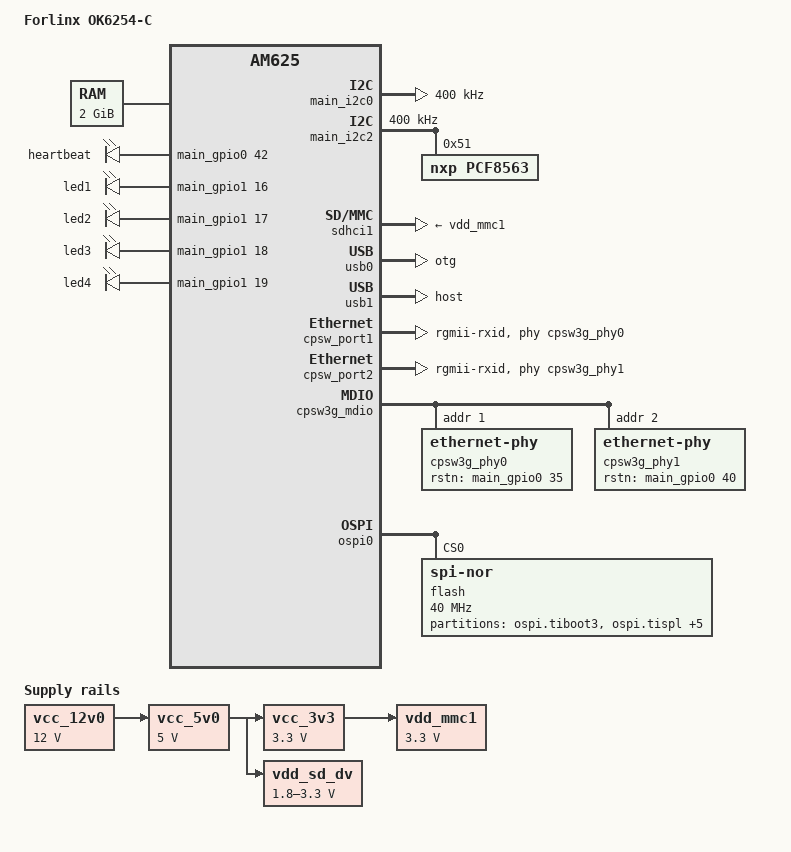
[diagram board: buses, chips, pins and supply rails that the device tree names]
// SPDX-License-Identifier: GPL-2.0
/*
 *  dts file of Forlinx OK6254-C dev board for A53
 *  Copyright (C) 2022 UWINGS TECHNOLOGIES
 *	KunYi Chen <kunyi.chen@gmail.com>
 */

/dts-v1/;

#include <dt-bindings/leds/common.h>
#include <dt-bindings/gpio/gpio.h>
#include <dt-bindings/net/ti-dp83867.h>
#include "k3-am625.dtsi"

/ {
	compatible =  "forlinx,ok6254c", "ti,am625";
	model = "Forlinx OK6254-C";

	aliases {
		serial2 = &main_uart0;
		mmc0 = &sdhci0;
		mmc1 = &sdhci1;
		mmc2 = &sdhci2;
		usb0 = &usb0;
		usb1 = &usb1;
		spi0 = &ospi0;
	};

	chosen {
		stdout-path = "serial2:115200n8";
		bootargs = "console=ttyS2,115200n8 earlycon=ns16550a,mmio32,0x02800000";
	};

	memory@80000000 {
		device_type = "memory";
		/* 2G RAM */
		reg = <0x00000000 0x80000000 0x00000000 0x80000000>;

	};

	reserved-memory {
		#address-cells = <2>;
		#size-cells = <2>;
		ranges;

		secure_tfa_ddr: tfa@9e780000 {
			reg = <0x00 0x9e780000 0x00 0x80000>;
			alignment = <0x1000>;
			no-map;
		};

		secure_ddr: optee@9e800000 {
			reg = <0x00 0x9e800000 0x00 0x01800000>; /* for OP-TEE */
			alignment = <0x1000>;
			no-map;
		};

		wkup_r5fss0_core0_dma_memory_region: r5f-dma-memory@9db00000 {
			compatible = "shared-dma-pool";
			reg = <0x00 0x9db00000 0x00 0xc00000>;
			no-map;
		};
	};

	vcc_12v0: fixed-regulator-vcc12v0 {
		compatible = "regulator-fixed";
		regulator-name = "vcc_12v0";
		regulator-min-microvolt = <12000000>;
		regulator-max-microvolt = <12000000>;
		regulator-always-on;
		regulator-boot-on;
	};

	vcc_5v0: fixed-regulator-vcc5v0 {
		compatible = "regulator-fixed";
		regulator-name = "vcc_5v0";
		regulator-min-microvolt = <5000000>;
		regulator-max-microvolt = <5000000>;
		vin-supply = <&vcc_12v0>;
		regulator-always-on;
		regulator-boot-on;
	};

	vcc_3v3: fixed-regulator-vcc3v3 {
		compatible = "regulator-fixed";
		regulator-name = "vcc_3v3";
		regulator-min-microvolt = <3300000>;
		regulator-max-microvolt = <3300000>;
		vin-supply = <&vcc_5v0>;
		regulator-always-on;
		regulator-boot-on;
	};

	vdd_mmc1: fixed-regulator-sd {
		compatible = "regulator-fixed";
		regulator-name = "vdd_mmc1";
		regulator-min-microvolt = <3300000>;
		regulator-max-microvolt = <3300000>;
		regulator-boot-on;
		enable-active-high;
		vin-supply = <&vcc_3v3>;
	};

	vdd_sd_dv: gpio-regulator-sd-dv {
		compatible = "regulator-gpio";
		regulator-name = "RT9186";
		pinctrl-names = "default";
		pinctrl-0 = <&vdd_sd_dv_pins_default>;
		regulator-min-microvolt = <1800000>;
		regulator-max-microvolt = <3300000>;
		regulator-boot-on;
		vin-supply = <&vcc_5v0>;
		gpios = <&main_gpio0 38 GPIO_ACTIVE_HIGH>;
		states = <1800000 0x1>,
			 <3300000 0x0>;
	};

	leds {
		compatible = "gpio-leds";
		pinctrl-names = "default";
		pinctrl-0 = <&usr_led_pins_default>;

		led-0 {
			label = "heartbeat";
			gpios = <&main_gpio0 42 GPIO_ACTIVE_HIGH>;
			linux,default-trigger = "heartbeat";
			function = LED_FUNCTION_HEARTBEAT;
			default-state = "off";
		};

		led-1 {
			label = "led1";
			gpios = <&main_gpio1 16 GPIO_ACTIVE_HIGH>;
			linux,default-trigger = "timer";
			led-pattern = <200 800>;
			default-state = "on";
		};

		led-2 {
			label = "led2";
			gpios = <&main_gpio1 17 GPIO_ACTIVE_HIGH>;
			linux,default-trigger = "timer";
			led-pattern = <300 700>;
			default-state = "on";
		};

		led-3 {
			label = "led3";
			gpios = <&main_gpio1 18 GPIO_ACTIVE_HIGH>;
			linux,default-trigger = "timer";
			led-pattern = <400 600>;
			default-state = "on";
		};

		led-4 {
			label = "led4";
			gpios = <&main_gpio1 19 GPIO_ACTIVE_HIGH>;
			linux,default-trigger = "timer";
			led-pattern = <500 500>;
			default-state = "on";
		};
	};
};

&main_pmx0 {
	main_uart0_pins_default: main-uart0-pins-default {
		pinctrl-single,pins = <
			AM62X_IOPAD(0x1c8, PIN_INPUT, 0) /* (D14) UART0_RXD */
			AM62X_IOPAD(0x1cc, PIN_OUTPUT, 0) /* (E14) UART0_TXD */
		>;
	};

	main_i2c0_pins_default: main-i2c0-pins-default {
		pinctrl-single,pins = <
			AM62X_IOPAD(0x1e0, PIN_INPUT_PULLUP, 0) /* (B16) I2C0_SCL */
			AM62X_IOPAD(0x1e4, PIN_INPUT_PULLUP, 0) /* (A16) I2C0_SDA */
		>;
	};

	main_i2c1_pins_default: main-i2c1-pins-default {
		pinctrl-single,pins = <
			AM62X_IOPAD(0x1e8, PIN_INPUT_PULLUP, 0) /* (B17) I2C1_SCL */
			AM62X_IOPAD(0x1ec, PIN_INPUT_PULLUP, 0) /* (A17) I2C1_SDA */
		>;
	};

	main_i2c2_pins_default: main-i2c2-pins-default {
		pinctrl-single,pins = <
			AM62X_IOPAD(0x0b0, PIN_INPUT_PULLUP, 1) /* (K22) GPMC0_CSn2.I2C2_SCL */
			AM62X_IOPAD(0x0b4, PIN_INPUT_PULLUP, 1) /* (K24) GPMC0_CSn3.I2C2_SDA */
		>;
	};

	main_mmc0_pins_default: main-mmc0-pins-default {
		pinctrl-single,pins = <
			AM62X_IOPAD(0x220, PIN_INPUT, 0) /* (Y3) MMC0_CMD */
			AM62X_IOPAD(0x218, PIN_INPUT_PULLDOWN, 0) /* (AB1) MMC0_CLK */
			AM62X_IOPAD(0x214, PIN_INPUT, 0) /* (AA2) MMC0_DAT0 */
			AM62X_IOPAD(0x210, PIN_INPUT, 0) /* (AA1) MMC0_DAT1 */
			AM62X_IOPAD(0x20c, PIN_INPUT, 0) /* (AA3) MMC0_DAT2 */
			AM62X_IOPAD(0x208, PIN_INPUT, 0) /* (Y4) MMC0_DAT3 */
			AM62X_IOPAD(0x204, PIN_INPUT, 0) /* (AB2) MMC0_DAT4 */
			AM62X_IOPAD(0x200, PIN_INPUT, 0) /* (AC1) MMC0_DAT5 */
			AM62X_IOPAD(0x1fc, PIN_INPUT, 0) /* (AD2) MMC0_DAT6 */
			AM62X_IOPAD(0x1f8, PIN_INPUT, 0) /* (AC2) MMC0_DAT7 */
		>;
	};

	main_mmc1_pins_default: main-mmc1-pins-default {
		pinctrl-single,pins = <
			AM62X_IOPAD(0x23c, PIN_INPUT, 0) /* (A21) MMC1_CMD */
			AM62X_IOPAD(0x234, PIN_INPUT_PULLDOWN, 0) /* (B22) MMC1_CLK */
			AM62X_IOPAD(0x230, PIN_INPUT, 0) /* (A22) MMC1_DAT0 */
			AM62X_IOPAD(0x22c, PIN_INPUT, 0) /* (B21) MMC1_DAT1 */
			AM62X_IOPAD(0x228, PIN_INPUT, 0) /* (C21) MMC1_DAT2 */
			AM62X_IOPAD(0x224, PIN_INPUT, 0) /* (D22) MMC1_DAT3 */
			AM62X_IOPAD(0x240, PIN_INPUT, 0) /* (D17) MMC1_SDCD */
		>;
	};

	usr_led_pins_default: usr-led-pins-default {
		pinctrl-single,pins = <
			AM62X_IOPAD(0x0ac, PIN_OUTPUT, 7) /* (L21) GPMC0_CSn1.GPIO0_42 */
			AM62X_IOPAD(0x1b8, PIN_OUTPUT, 7) /* (C13) SPI0_CS1.GPIO1_16 */
			AM62X_IOPAD(0x1bc, PIN_OUTPUT, 7) /* (A14) SPI0_CLK.GPIO1_17*/
			AM62X_IOPAD(0x1c0, PIN_OUTPUT, 7) /* (B13) SPI0_D0.GPIO1_18 */
			AM62X_IOPAD(0x1c4, PIN_OUTPUT, 7) /* (B14) SPI0_D1.GPIO1_19 */
		>;
	};

	main_usb1_pins_default: main-usb1-pins-default {
		pinctrl-single,pins = <
			AM62X_IOPAD(0x258, PIN_OUTPUT, 0) /* (F18) USB1_DRVVBUS */
		>;
	};

	main_usb0_gpio_pins_default: main-usb0-gpio-pins-default {
		pinctrl-single,pins = <
			AM62X_IOPAD(0x094, PIN_INPUT, 7) /* (N20) GPMC0_BE1n.GPIO0_36 */
			AM62X_IOPAD(0x254, PIN_OUTPUT, 0) /* (C20) USB0_DRVVBUS */
		>;
	};

	main_mdio1_pins_default: main-mdio1-pins-default {
		pinctrl-single,pins = <
			AM62X_IOPAD(0x160, PIN_OUTPUT, 0) /* (AD24) MDIO0_MDC */
			AM62X_IOPAD(0x15c, PIN_INPUT, 0) /* (AB22) MDIO0_MDIO */
		>;
	};

	main_rgmii1_pins_default: main-rgmii1-pins-default {
		pinctrl-single,pins = <
			AM62X_IOPAD(0x14c, PIN_INPUT, 0) /* (AB17) RGMII1_RD0 */
			AM62X_IOPAD(0x150, PIN_INPUT, 0) /* (AC17) RGMII1_RD1 */
			AM62X_IOPAD(0x154, PIN_INPUT, 0) /* (AB16) RGMII1_RD2 */
			AM62X_IOPAD(0x158, PIN_INPUT, 0) /* (AA15) RGMII1_RD3 */
			AM62X_IOPAD(0x148, PIN_INPUT, 0) /* (AD17) RGMII1_RXC */
			AM62X_IOPAD(0x144, PIN_INPUT, 0) /* (AE17) RGMII1_RX_CTL */
			AM62X_IOPAD(0x134, PIN_OUTPUT, 0) /* (AE20) RGMII1_TD0 */
			AM62X_IOPAD(0x138, PIN_OUTPUT, 0) /* (AD20) RGMII1_TD1 */
			AM62X_IOPAD(0x13c, PIN_OUTPUT, 0) /* (AE18) RGMII1_TD2 */
			AM62X_IOPAD(0x140, PIN_OUTPUT, 0) /* (AD18) RGMII1_TD3 */
			AM62X_IOPAD(0x130, PIN_OUTPUT, 0) /* (AE19) RGMII1_TXC */
			AM62X_IOPAD(0x12c, PIN_OUTPUT, 0) /* (AD19) RGMII1_TX_CTL */
		>;
	};

	main_rgmii2_pins_default: main-rgmii2-pins-default {
		pinctrl-single,pins = <
			AM62X_IOPAD(0x184, PIN_INPUT, 0) /* (AE23) RGMII2_RD0 */
			AM62X_IOPAD(0x188, PIN_INPUT, 0) /* (AB20) RGMII2_RD1 */
			AM62X_IOPAD(0x18c, PIN_INPUT, 0) /* (AC21) RGMII2_RD2 */
			AM62X_IOPAD(0x190, PIN_INPUT, 0) /* (AE22) RGMII2_RD3 */
			AM62X_IOPAD(0x180, PIN_INPUT, 0) /* (AD23) RGMII2_RXC */
			AM62X_IOPAD(0x17c, PIN_INPUT, 0) /* (AD22) RGMII2_RX_CTL */
			AM62X_IOPAD(0x16c, PIN_OUTPUT, 0) /* (Y18) RGMII2_TD0 */
			AM62X_IOPAD(0x170, PIN_OUTPUT, 0) /* (AA18) RGMII2_TD1 */
			AM62X_IOPAD(0x174, PIN_OUTPUT, 0) /* (AD21) RGMII2_TD2 */
			AM62X_IOPAD(0x178, PIN_OUTPUT, 0) /* (AC20) RGMII2_TD3 */
			AM62X_IOPAD(0x168, PIN_OUTPUT, 0) /* (AE21) RGMII2_TXC */
			AM62X_IOPAD(0x164, PIN_OUTPUT, 0) /* (AA19) RGMII2_TX_CTL */
		>;
	};

	phy_reset_pins_default: phy-reset-pins-default {
		pinctrl-single,pins = <
			AM62X_IOPAD(0x090, PIN_OUTPUT, 7) /* (M24) GPMC0_BE0n_CLE.GPIO0_35 */
			AM62X_IOPAD(0x0a4, PIN_OUTPUT, 7) /* (M22) GPMC0_DIR.GPIO0_40 */
		>;
	};

	vdd_sd_dv_pins_default: vdd-sd-dv-pins-default {
		pinctrl-single,pins = <
			AM62X_IOPAD(0x07c, PIN_OUTPUT, 7) /* (P25) GPMC0_CLK.GPIO0_31 */
		>;
	};

	ospi0_pins_default: ospi0-pins-default {
		pinctrl-single,pins = <
			AM62X_IOPAD(0x000, PIN_OUTPUT, 0) /* (H24) OSPI0_CLK */
			AM62X_IOPAD(0x02c, PIN_OUTPUT, 0) /* (F23) OSPI0_CSn0 */
			AM62X_IOPAD(0x00c, PIN_INPUT, 0) /* (E25) OSPI0_D0 */
			AM62X_IOPAD(0x010, PIN_INPUT, 0) /* (G24) OSPI0_D1 */
			AM62X_IOPAD(0x014, PIN_INPUT, 0) /* (F25) OSPI0_D2 */
			AM62X_IOPAD(0x018, PIN_INPUT, 0) /* (F24) OSPI0_D3 */
			AM62X_IOPAD(0x01c, PIN_INPUT, 0) /* (J23) OSPI0_D4 */
			AM62X_IOPAD(0x020, PIN_INPUT, 0) /* (J25) OSPI0_D5 */
			AM62X_IOPAD(0x024, PIN_INPUT, 0) /* (H25) OSPI0_D6 */
			AM62X_IOPAD(0x028, PIN_INPUT, 0) /* (J22) OSPI0_D7 */
			AM62X_IOPAD(0x008, PIN_INPUT, 0) /* (J24) OSPI0_DQS */
		>;
	};
};

&wkup_uart0 {
	/* WKUP UART0 is used by DM firmware */
	status = "reserved";
};

&mcu_uart0 {
	status = "disabled";
};

&main_uart0 {
	pinctrl-names = "default";
	pinctrl-0 = <&main_uart0_pins_default>;
};

&main_uart1 {
	/* Main UART1 is used by TIFS firmware */
	status = "reserved";
};

&main_uart2 {
	status = "disabled";
};

&main_uart3 {
	status = "disabled";
};

&main_uart4 {
	status = "disabled";
};

&main_uart5 {
	status = "disabled";
};

&main_uart6 {
	status = "disabled";
};

&mcu_i2c0 {
	status = "disabled";
};

&wkup_i2c0 {
	status = "disabled";
};

&main_i2c0 {
	pinctrl-names = "default";
	pinctrl-0 = <&main_i2c0_pins_default>;
	clock-frequency = <400000>;
};

&main_i2c1 {
	status = "disabled";
};

&main_i2c2 {
	status = "okay";
	pinctrl-names = "default";
	pinctrl-0 = <&main_i2c2_pins_default>;
	clock-frequency = <400000>;

	pcf8563:rtc@51 {
		compatible = "nxp,pcf8563";
		reg = <0x51>;
		status = "okay";
	};
};

&main_i2c3 {
	status = "disabled";
};

&sdhci0 {
	pinctrl-names = "default";
	pinctrl-0 = <&main_mmc0_pins_default>;
	ti,driver-strength-ohm = <50>;
	disable-wp;
};

&sdhci1 {
	/* SD/MMC */
	vmmc-supply = <&vdd_mmc1>;
	vqmmc-supply = <&vdd_sd_dv>;
	pinctrl-names = "default";
	pinctrl-0 = <&main_mmc1_pins_default>;
	ti,driver-strength-ohm = <50>;
	disable-wp;
};

&sdhci2 {
	status = "disabled";
};

&usbss0 {
	id-gpios = <&main_gpio0 36 GPIO_ACTIVE_HIGH>;
	pinctrl-names = "default";
	pinctrl-0 = <&main_usb0_gpio_pins_default>;
	ti,vbus-divider;
};

&usb0 {
	dr_mode = "otg";
	/* To indicate the connector can be used
	 * for both host as well as gadget mode
	 */
	usb-role-switch;
	extcon = <&usbss0>;
};

&usb1 {
	dr_mode = "host";
	pinctrl-names = "default";
	pinctrl-0 = <&main_usb1_pins_default>;
	/delete-property/ extcon;
};

&cpsw3g {
	pinctrl-names = "default";
	pinctrl-0 = <&main_mdio1_pins_default
		     &main_rgmii1_pins_default
		     &main_rgmii2_pins_default
		     &phy_reset_pins_default
		>;
};

&cpsw_port1 {
	phy-mode = "rgmii-rxid";
	phy-handle = <&cpsw3g_phy0>;
};

&cpsw_port2 {
	phy-mode = "rgmii-rxid";
	phy-handle = <&cpsw3g_phy1>;
	status = "okay";
};

&cpsw3g_mdio {
	cpsw3g_phy0: ethernet-phy@1 {
		reg = <1>;
		ti,min-output-impedance;
		rstn-gpios = <&main_gpio0 35 GPIO_ACTIVE_HIGH>;
	};

	cpsw3g_phy1: ethernet-phy@2 {
		reg = <2>;
		ti,min-output-impedance;
		rstn-gpios = <&main_gpio0 40 GPIO_ACTIVE_HIGH>;
	};
};

&mailbox0_cluster0 {
	mbox_m4_0: mbox-m4-0 {
		ti,mbox-rx = <0 0 0>;
		ti,mbox-tx = <1 0 0>;
	};
};

&ospi0 {
	pinctrl-names = "default";
	pinctrl-0 = <&ospi0_pins_default>;

	flash@0{
		compatible = "jedec,spi-nor";
		reg = <0x0>;
		spi-tx-bus-width = <4>;
		spi-rx-bus-width = <4>;
		spi-max-frequency = <40000000>;
		cdns,tshsl-ns = <60>;
		cdns,tsd2d-ns = <60>;
		cdns,tchsh-ns = <60>;
		cdns,tslch-ns = <60>;
		cdns,read-delay = <4>;
		cdns,read-delay-dtr = <10>;
		#address-cells = <1>;
		#size-cells = <1>;
		cdns,phy-mode;

		partitions {
			compatible = "fixed-partitions";
			#address-cells = <1>;
			#size-cells = <1>;

			partition@0 {
				label = "ospi.tiboot3";
				reg = <0x0 0x80000>;
			};

			partition@80000 {
				label = "ospi.tispl";
				reg = <0x80000 0x200000>;
			};

			partition@280000 {
				label = "ospi.u-boot";
				reg = <0x280000 0x400000>;
			};

			partition@680000 {
				label = "ospi.env";
				reg = <0x680000 0x40000>;
			};

			partition@6c0000 {
				label = "ospi.env.backup";
				reg = <0x6c0000 0x40000>;
			};

			partition@800000 {
				label = "ospi.rootfs";
				reg = <0x800000 0x37c0000>;
			};

			partition@3fc0000 {
				label = "ospi.phypattern";
				reg = <0x3fc0000 0x40000>;
			};
		};
	};
};
